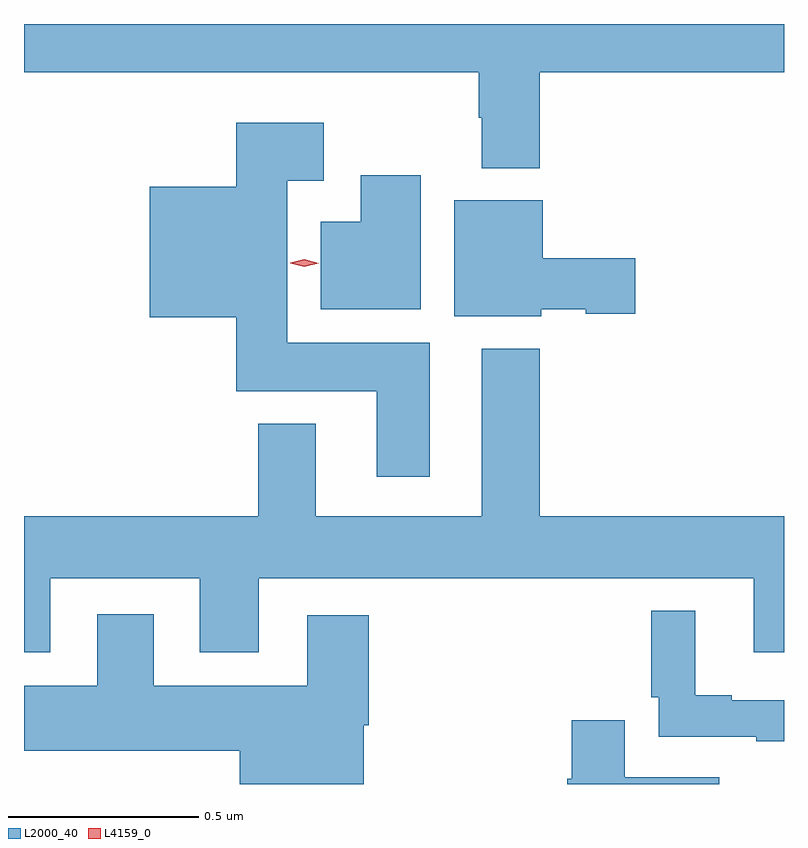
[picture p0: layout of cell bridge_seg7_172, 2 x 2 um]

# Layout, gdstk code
import gdstk
lib = gdstk.Library(unit=1e-6, precision=1e-09)
def P(c, l, *ps):  # polygons
    for p in ps: c.add(gdstk.Polygon(p, *l))
L2000_40 = (2000, 40)
L4159_0 = (4159, 0)

bridge_seg7_172 = lib.new_cell('bridge_seg7_172')
P(bridge_seg7_172, L2000_40, [(458.3,1040.576),(458.943,1040.576),(458.943,1040.703),(456.943,1040.703),(456.943,1040.576),(458.14,1040.576),(458.14,1040.456),(458.147,1040.456),(458.147,1040.324),(458.3,1040.324)],
  [(458.011,1039.864),(457.636,1039.864),(457.636,1040.291),(457.732,1040.291),(457.732,1040.443),(457.502,1040.443),(457.502,1040.275),(457.274,1040.275),(457.274,1039.931),(457.502,1039.931),(457.502,1039.736),(457.871,1039.736),(457.871,1039.512),(458.011,1039.512)],
  [(457.987,1040.305),(457.829,1040.305),(457.829,1040.182),(457.724,1040.182),(457.724,1039.952),(457.987,1039.952)],
  [(458.304,1039.952),(458.421,1039.952),(458.421,1039.94),(458.551,1039.94),(458.551,1040.087),(458.308,1040.087),(458.308,1040.239),(458.075,1040.239),(458.075,1039.934),(458.304,1039.934)],
  [(458.864,1039.05),(458.943,1039.05),(458.943,1039.408),(458.3,1039.408),(458.3,1039.849),(458.147,1039.849),(458.147,1039.408),(457.711,1039.408),(457.711,1039.651),(457.559,1039.651),(457.559,1039.408),(456.943,1039.408),(456.943,1039.05),(457.012,1039.05),(457.012,1039.244),(457.406,1039.244),(457.406,1039.05),(457.561,1039.05),(457.561,1039.244),(458.864,1039.244)],
  [(458.943,1038.924),(458.806,1038.924),(458.806,1038.937),(458.71,1038.937),(458.71,1039.159),(458.593,1039.159),(458.593,1038.931),(458.613,1038.931),(458.613,1038.828),(458.87,1038.828),(458.87,1038.816),(458.943,1038.816)],
  [(457.837,1038.857),(457.85,1038.857),(457.85,1039.147),(457.688,1039.147),(457.688,1038.961),(457.285,1038.961),(457.285,1039.15),(457.136,1039.15),(457.136,1038.961),(456.943,1038.961),(456.943,1038.791),(457.511,1038.791),(457.511,1038.703),(457.837,1038.703)],
  [(458.773,1038.721),(458.524,1038.721),(458.524,1038.871),(458.384,1038.871),(458.384,1038.717),(458.372,1038.717),(458.372,1038.703),(458.773,1038.703)])
P(bridge_seg7_172, L4159_0, [(457.681,1040.064),(457.644,1040.074),(457.644,1040.075),(457.644,1040.075),(457.681,1040.084),(457.718,1040.073),(457.718,1040.073),(457.718,1040.073)])

lib.write_gds('bridge_seg7_172.gds')
